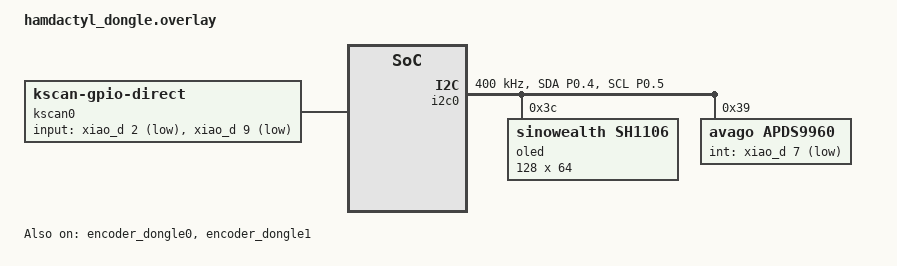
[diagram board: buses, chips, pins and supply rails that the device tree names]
#include "hamdactyl.dtsi"

/ {
    kscan0: kscan0 {
        compatible = "zmk,kscan-gpio-direct";
        wakeup-source;

        input-gpios
            = <&xiao_d 2 (GPIO_ACTIVE_LOW | GPIO_PULL_UP)>
            , <&xiao_d 9 (GPIO_ACTIVE_LOW | GPIO_PULL_UP)>
            ;
    };
};

&physical_layout_hamdactyl {
    kscan = <&kscan0>;
};

&encoder_dongle0 {
    a-gpios = <&xiao_d 7 (GPIO_ACTIVE_HIGH | GPIO_PULL_UP)>;
    b-gpios = <&xiao_d 10 (GPIO_ACTIVE_HIGH | GPIO_PULL_UP)>;
    status = "okay";
};
&encoder_dongle1 {
    a-gpios = <&xiao_d 1 (GPIO_ACTIVE_HIGH | GPIO_PULL_UP)>;
    b-gpios = <&xiao_d 3 (GPIO_ACTIVE_HIGH | GPIO_PULL_UP)>;
    status = "okay";
};


//
// ======== i2c0 ========
//

// pin control for i2c0
// - SDA on D4
// - SCL on D5
&pinctrl {
    /* configuration for i2c0 device, default state */
    i2c0_default: i2c0_default {
        group1 {
            psels = <NRF_PSEL(TWIM_SDA, 0, 4)>,
                    <NRF_PSEL(TWIM_SCL, 0, 5)>;
                    bias-pull-up;
        };
    };
    /* configuration for i2c0 device, sleep state */
    i2c0_sleep: i2c0_sleep {
        group1 {
            psels = <NRF_PSEL(TWIM_SDA, 0, 4)>,
                    <NRF_PSEL(TWIM_SCL, 0, 5)>;
            low-power-enable;
            bias-pull-up;
        };
    };
};
&i2c0 {
  compatible = "nordic,nrf-twim";
  status = "okay";
  pinctrl-0 = <&i2c0_default>;
  pinctrl-1 = <&i2c0_sleep>;
  pinctrl-names = "default", "sleep";
  clock-frequency = <I2C_BITRATE_FAST>;
};

// devices on i2c0

&i2c0 {
    oled: sh1106@3c {
        compatible = "sinowealth,sh1106";
        reg = <0x3c>;
        width = <128>;
        height = <64>;

        segment-offset = <2>;
        page-offset = <0>;
        display-offset = <0>;
        multiplex-ratio = <63>;
        prechargep = <0x22>;
        segment-remap;
        com-invdir;
        inversion-on;
    };

    apds9960: apds9960@39 {
        compatible = "avago,apds9960";
        status = "okay";
        reg = <0x39>;
        int-gpios = <&xiao_d 7 (GPIO_ACTIVE_LOW | GPIO_PULL_UP)>;
    };
};
/ {
    chosen {
        zephyr,display = &oled;
    };
};
